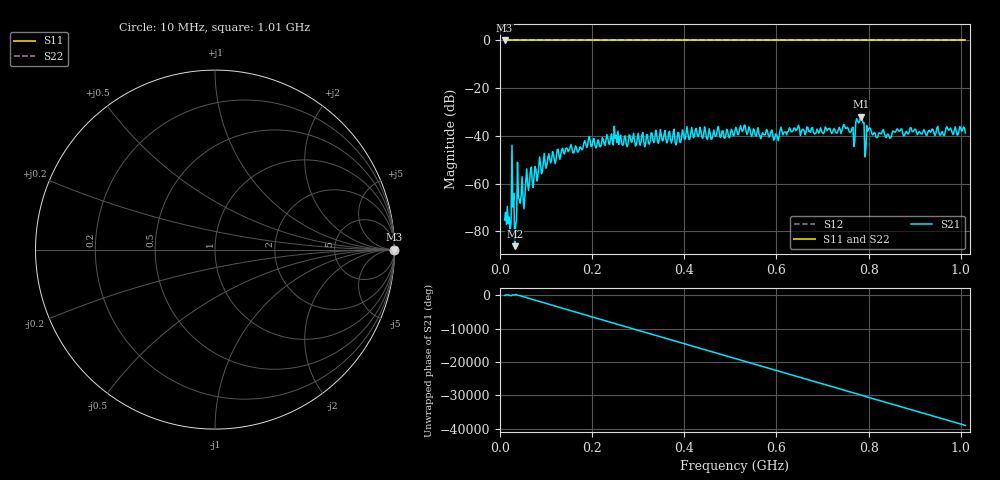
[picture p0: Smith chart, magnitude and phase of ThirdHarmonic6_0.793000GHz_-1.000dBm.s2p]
! 8/16/2025 2:27:45 AM
! C:\ANRITSUVNA\TEMP\TEMP.S2P
! CHANNEL.1
! TR.MEASUREMENT
! RAW.DATA
! RF.CORRECTION.OFF
! AVERAGING.OFF
! IF.BANDWIDTH: 5KHZ
! SWEEPTYPE:  FREQ.SWEEP(Linear)
! Reference Plane Port Info
! PORT:  PORT1  PORT2
! DISTANCE:  0  m  0  m
! TIME:  0  s  0  s
! PHASE.OFFSET:  0  deg.  0  deg.
! LOSS:  0  dB  0  dB
! REF.LOSS:  0  dB  0  dB
! REF.FREQ:  0  Hz  0  Hz
! Power Info
! POWER:  -20  dBm  -20  dBm
! EFF.POWER:  -20  dBm  -20  dBm
! SOURCE.ATTEN:  0  dB  0  dB
! TEST.ATTEN:  0  dB  0  dB
# GHZ S RI R 50.0
! FREQ.GHZ  S11RE  S11IM  S21RE  S21IM  S12RE  S12IM  S22RE  S22IM
!; PortSelection: Port_12
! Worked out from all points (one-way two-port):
!   501 points, 10 MHz to 1.01 GHz, reference 50 ohm
!   highest |S21| = -31.93 dB at 784 MHz (marker M1); lowest = -86.2 dB at 32 MHz (marker M2)
!   lowest |S11| = 0.0 dB at 10 MHz (marker M3)
!   |S11| at or under -10 dB: nowhere
!   |S22| runs from 0.0 to 0.0 dB; largest |S21 - S12| = 1
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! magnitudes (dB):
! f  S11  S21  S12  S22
! 10 MHz  0.0  -75.3  0.0  0.0
! 20 MHz  0.0  -74.0  0.0  0.0
! 26 MHz  0.0  -43.9  0.0  0.0
! 30 MHz  0.0  -64.2  0.0  0.0
! 32 MHz  0.0  -86.2  0.0  0.0
! 42 MHz  0.0  -66.9  0.0  0.0
! 48 MHz  0.0  -57.1  0.0  0.0
! 62 MHz  0.0  -62.8  0.0  0.0
! 90 MHz  0.0  -55.9  0.0  0.0
! 178 MHz  0.0  -45.9  0.0  0.0
! 252 MHz  0.0  -39.9  0.0  0.0
! 272 MHz  0.0  -40.0  0.0  0.0
! 344 MHz  0.0  -43.1  0.0  0.0
! 510 MHz  0.0  -37.8  0.0  0.0
! 678 MHz  0.0  -36.5  0.0  0.0
! 750 MHz  0.0  -36.9  0.0  0.0
! 766 MHz  0.0  -36.4  0.0  0.0
! 784 MHz  0.0  -31.9  0.0  0.0
! 796 MHz  0.0  -35.8  0.0  0.0
! 800 MHz  0.0  -37.0  0.0  0.0
! 844 MHz  0.0  -40.0  0.0  0.0
! 1.01 GHz  0.0  -38.8  0.0  0.0
